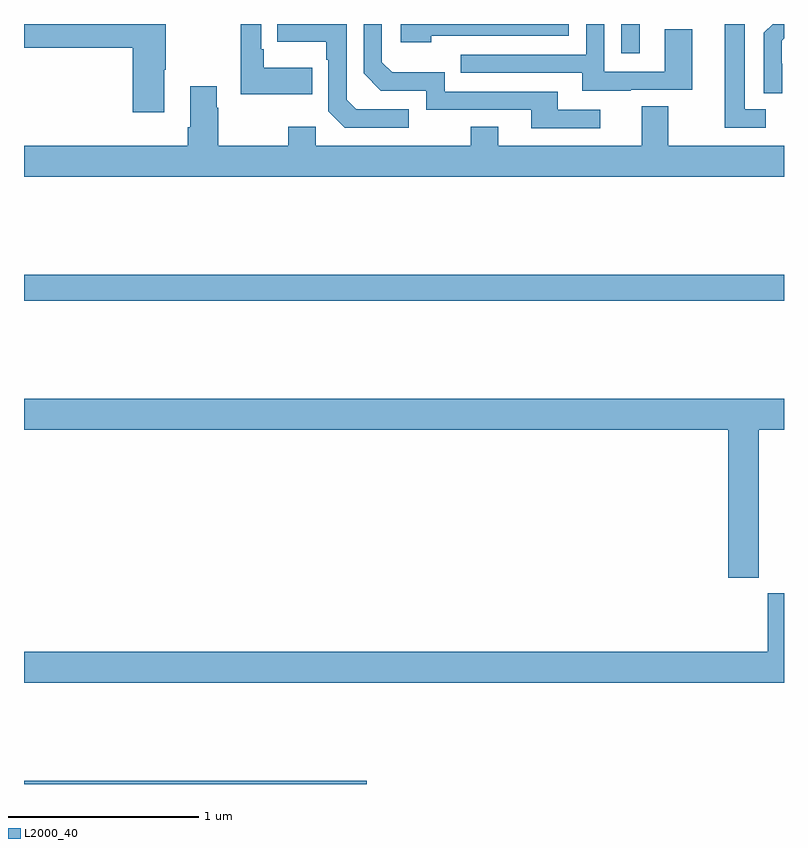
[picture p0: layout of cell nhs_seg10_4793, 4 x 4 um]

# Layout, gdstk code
import gdstk
lib = gdstk.Library(unit=1e-6, precision=1e-09)
def R(c, l, rs):  # rectangles x0, y0, x1, y1
    for r in rs: c.add(gdstk.rectangle(r[:2], r[2:], *l))
def P(c, l, *ps):  # polygons
    for p in ps: c.add(gdstk.Polygon(p, *l))
L2000_40 = (2000, 40)

nhs_seg10_4793 = lib.new_cell('nhs_seg10_4793')
R(nhs_seg10_4793, L2000_40, [(387,1250.5,388.804,1250.516), (387,1253.044,391,1253.18), (390.144,1254.345,390.241,1254.5)])
P(nhs_seg10_4793, L2000_40, [(390.034,1254.048),(389.809,1254.048),(389.809,1254.144),(389.214,1254.144),(389.214,1254.247),(388.937,1254.247),(388.884,1254.3),(388.884,1254.5),(388.788,1254.5),(388.788,1254.24),(388.878,1254.15),(389.118,1254.15),(389.118,1254.048),(389.669,1254.048),(389.669,1253.952),(390.034,1253.952)],
  [(390.99,1254.29),(390.989,1254.29),(390.989,1254.413),(391,1254.424),(391,1254.5),(390.94,1254.5),(390.894,1254.454),(390.894,1254.136),(390.99,1254.136)],
  [(389.144,1254.438),(389.868,1254.438),(389.868,1254.5),(388.983,1254.5),(388.983,1254.404),(389.144,1254.404)],
  [(389.026,1254.051),(388.749,1254.051),(388.698,1254.102),(388.698,1254.5),(388.333,1254.5),(388.333,1254.407),(388.59,1254.407),(388.59,1254.311),(388.602,1254.311),(388.602,1254.042),(388.689,1253.955),(389.026,1253.955)],
  [(390.904,1254.051),(390.793,1254.051),(390.793,1254.5),(390.689,1254.5),(390.689,1253.955),(390.904,1253.955)],
  [(390.193,1254.153),(390.517,1254.153),(390.517,1254.473),(390.372,1254.473),(390.372,1254.249),(390.054,1254.249),(390.054,1254.5),(389.958,1254.5),(389.958,1254.339),(389.299,1254.339),(389.299,1254.243),(389.939,1254.243),(389.939,1254.149),(390.193,1254.149)],
  [(388.517,1254.271),(388.261,1254.271),(388.261,1254.367),(388.248,1254.367),(388.248,1254.5),(388.14,1254.5),(388.14,1254.131),(388.517,1254.131)],
  [(387.739,1254.259),(387.747,1254.259),(387.747,1254.5),(387,1254.5),(387,1254.376),(387.572,1254.376),(387.572,1254.036),(387.739,1254.036)],
  [(391,1253.86),(390.391,1253.86),(390.391,1254.068),(390.251,1254.068),(390.251,1253.86),(389.497,1253.86),(389.497,1253.959),(389.35,1253.959),(389.35,1253.86),(388.536,1253.86),(388.536,1253.959),(388.39,1253.959),(388.39,1253.86),(388.023,1253.86),(388.023,1254.059),(388.015,1254.059),(388.015,1254.172),(387.875,1254.172),(387.875,1253.956),(387.863,1253.956),(387.863,1253.86),(387,1253.86),(387,1253.696),(391,1253.696)],
  [(390.867,1252.364),(391,1252.364),(391,1252.528),(387,1252.528),(387,1252.364),(390.707,1252.364),(390.707,1251.585),(390.867,1251.585)],
  [(391,1251.505),(390.914,1251.505),(390.914,1251.196),(387,1251.196),(387,1251.032),(391,1251.032)])

lib.write_gds('nhs_seg10_4793.gds')
